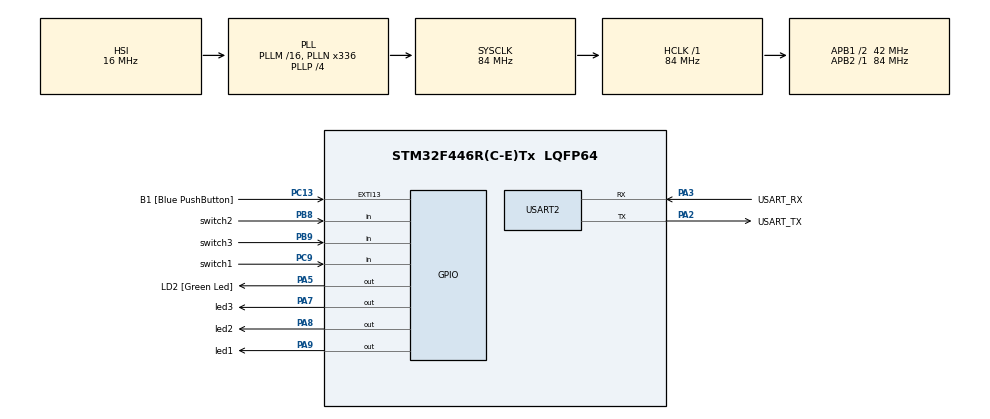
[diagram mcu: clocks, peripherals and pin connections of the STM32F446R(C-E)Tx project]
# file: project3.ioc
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Mcu.Family=STM32F4
Mcu.Name=STM32F446R(C-E)Tx
Mcu.Package=LQFP64
NVIC.PriorityGroup=NVIC_PRIORITYGROUP_0
NVIC.TIM6_DAC_IRQn=true\:0\:0\:false\:false\:true\:true\:true\:true
PA13.GPIO_Label=TMS
PA13.Mode=Serial_Wire
PA13.Signal=SYS_JTMS-SWDIO
PA14.GPIO_Label=TCK
PA14.Mode=Serial_Wire
PA14.Signal=SYS_JTCK-SWCLK
PA2.GPIO_Label=USART_TX
PA2.Mode=Asynchronous
PA2.Signal=USART2_TX
PA3.GPIO_Label=USART_RX
PA3.Mode=Asynchronous
PA3.Signal=USART2_RX
PA5.GPIO_Label=LD2 [Green Led]
PA5.Signal=GPIO_Output
PA7.GPIO_Label=led3
PA7.Signal=GPIO_Output
PA8.GPIO_Label=led2
PA8.Signal=GPIO_Output
PA9.GPIO_Label=led1
PA9.Signal=GPIO_Output
PB3.GPIO_Label=SWO
PB3.Signal=SYS_JTDO-SWO
PB8.GPIO_Label=switch2
PB8.GPIO_PuPd=GPIO_PULLUP
PB8.Signal=GPIO_Input
PB9.GPIO_Label=switch3
PB9.GPIO_PuPd=GPIO_PULLUP
PB9.Signal=GPIO_Input
PC13.GPIO_Label=B1 [Blue PushButton]
PC13.GPIO_ModeDefaultEXTI=GPIO_MODE_IT_FALLING
PC13.Signal=GPXTI13
PC14-OSC32_IN.Mode=LSE-External-Oscillator
PC14-OSC32_IN.Signal=RCC_OSC32_IN
PC15-OSC32_OUT.Mode=LSE-External-Oscillator
PC15-OSC32_OUT.Signal=RCC_OSC32_OUT
PC9.GPIO_Label=switch1
PC9.GPIO_PuPd=GPIO_PULLUP
PC9.Signal=GPIO_Input
PH0-OSC_IN.Mode=HSE-External-Oscillator
PH0-OSC_IN.Signal=RCC_OSC_IN
PH1-OSC_OUT.Mode=HSE-External-Oscillator
PH1-OSC_OUT.Signal=RCC_OSC_OUT
ProjectManager.HeapSize=0x200
ProjectManager.StackSize=0x400
ProjectManager.TargetToolchain=STM32CubeIDE
RCC.48MHZClocksFreq_Value=84000000
RCC.AHBFreq_Value=84000000
RCC.APB1CLKDivider=RCC_HCLK_DIV2
RCC.APB1Freq_Value=42000000
RCC.APB1TimFreq_Value=84000000
RCC.APB2Freq_Value=84000000
RCC.APB2TimFreq_Value=84000000
RCC.CortexFreq_Value=84000000
RCC.FLatency-AdvancedSettings=FLASH_LATENCY_2
RCC.HCLKFreq_Value=84000000
RCC.HSE_VALUE=8000000
RCC.HSI_VALUE=16000000
RCC.PLLN=336
RCC.PLLP=RCC_PLLP_DIV4
RCC.SYSCLKFreq_VALUE=84000000
RCC.SYSCLKSource=RCC_SYSCLKSOURCE_PLLCLK
RCC.USBFreq_Value=168000000
RCC.VCOOutputFreq_Value=336000000
TIM6.Period=10000
TIM6.Prescaler=8399
USART2.VirtualMode=VM_ASYNC
VP_TIM6_VS_ClockSourceINT.Mode=Enable_Timer
board=NUCLEO-F446RE

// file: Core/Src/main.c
/* USER CODE BEGIN Header */
/**
  ******************************************************************************
  * @file           : main.c
  * @brief          : Main program body
  ******************************************************************************
  * @attention
  *
  * Copyright (c) 2024 STMicroelectronics.
  * All rights reserved.
  *
  * This software is licensed under terms that can be found in the LICENSE file
  * in the root directory of this software component.
  * If no LICENSE file comes with this software, it is provided AS-IS.
  *
  ******************************************************************************
  */
/* USER CODE END Header */
#include "main.h"

UART_HandleTypeDef huart2;
TIM_HandleTypeDef htim6;

/* USER CODE BEGIN PV */
volatile uint8_t led1_state = 0;
volatile uint8_t led2_state = 0;
volatile uint8_t led3_state = 0;
/* USER CODE END PV */

void SystemClock_Config(void);
static void MX_GPIO_Init(void);
static void MX_USART2_UART_Init(void);
static void MX_TIM6_Init(void);
/* USER CODE BEGIN PFP */
void HAL_TIM_PeriodElapsedCallback(TIM_HandleTypeDef *htim);
/* USER CODE END PFP */

int main(void)
{

  /* MCU Configuration--------------------------------------------------------*/

  /* Reset of all peripherals, Initializes the Flash interface and the Systick. */
  HAL_Init();

  /* Configure the system clock */
  SystemClock_Config();

  /* Initialize all configured peripherals */
  MX_GPIO_Init();
  MX_USART2_UART_Init();
  MX_TIM6_Init();
  /* USER CODE BEGIN 2 */
  HAL_TIM_Base_Start_IT(&htim6); // Start Timer 6 with interrupt
  /* USER CODE END 2 */

  /* Infinite loop */
  while (1)
  {

  }
}

void SystemClock_Config(void)
{
  RCC_OscInitTypeDef RCC_OscInitStruct = {0};
  RCC_ClkInitTypeDef RCC_ClkInitStruct = {0};

  /** Configure the main internal regulator output voltage
  */
  __HAL_RCC_PWR_CLK_ENABLE();
  __HAL_PWR_VOLTAGESCALING_CONFIG(PWR_REGULATOR_VOLTAGE_SCALE3);

  /** Initializes the RCC Oscillators according to the specified parameters
  * in the RCC_OscInitTypeDef structure.
  */
  RCC_OscInitStruct.OscillatorType = RCC_OSCILLATORTYPE_HSI;
  RCC_OscInitStruct.HSIState = RCC_HSI_ON;
  RCC_OscInitStruct.HSICalibrationValue = RCC_HSICALIBRATION_DEFAULT;
  RCC_OscInitStruct.PLL.PLLState = RCC_PLL_ON;
  RCC_OscInitStruct.PLL.PLLSource = RCC_PLLSOURCE_HSI;
  RCC_OscInitStruct.PLL.PLLM = 16;
  RCC_OscInitStruct.PLL.PLLN = 336;
  RCC_OscInitStruct.PLL.PLLP = RCC_PLLP_DIV4;
  RCC_OscInitStruct.PLL.PLLQ = 2;
  RCC_OscInitStruct.PLL.PLLR = 2;
  if (HAL_RCC_OscConfig(&RCC_OscInitStruct) != HAL_OK)
  {
    Error_Handler();
  }

  /** Initializes the CPU, AHB and APB buses clocks
  */
  RCC_ClkInitStruct.ClockType = RCC_CLOCKTYPE_HCLK|RCC_CLOCKTYPE_SYSCLK
                              |RCC_CLOCKTYPE_PCLK1|RCC_CLOCKTYPE_PCLK2;
  RCC_ClkInitStruct.SYSCLKSource = RCC_SYSCLKSOURCE_PLLCLK;
  RCC_ClkInitStruct.AHBCLKDivider = RCC_SYSCLK_DIV1;
  RCC_ClkInitStruct.APB1CLKDivider = RCC_HCLK_DIV2;
  RCC_ClkInitStruct.APB2CLKDivider = RCC_HCLK_DIV1;

  if (HAL_RCC_ClockConfig(&RCC_ClkInitStruct, FLASH_LATENCY_2) != HAL_OK)
  {
    Error_Handler();
  }
}

static void MX_USART2_UART_Init(void)
{

  huart2.Instance = USART2;
  huart2.Init.BaudRate = 115200;
  huart2.Init.WordLength = UART_WORDLENGTH_8B;
  huart2.Init.StopBits = UART_STOPBITS_1;
  huart2.Init.Parity = UART_PARITY_NONE;
  huart2.Init.Mode = UART_MODE_TX_RX;
  huart2.Init.HwFlowCtl = UART_HWCONTROL_NONE;
  huart2.Init.OverSampling = UART_OVERSAMPLING_16;
  if (HAL_UART_Init(&huart2) != HAL_OK)
  {
    Error_Handler();
  }

}

static void MX_GPIO_Init(void)
{
  GPIO_InitTypeDef GPIO_InitStruct = {0};

  /* GPIO Ports Clock Enable */
  __HAL_RCC_GPIOC_CLK_ENABLE();
  __HAL_RCC_GPIOH_CLK_ENABLE();
  __HAL_RCC_GPIOA_CLK_ENABLE();
  __HAL_RCC_GPIOB_CLK_ENABLE();

  /*Configure GPIO pin Output Level */
  HAL_GPIO_WritePin(GPIOA, LD2_Pin|led3_Pin|led2_Pin|led1_Pin, GPIO_PIN_RESET);

  /*Configure GPIO pin : B1_Pin */
  GPIO_InitStruct.Pin = B1_Pin;
  GPIO_InitStruct.Mode = GPIO_MODE_IT_FALLING;
  GPIO_InitStruct.Pull = GPIO_NOPULL;
  HAL_GPIO_Init(B1_GPIO_Port, &GPIO_InitStruct);

  /*Configure GPIO pins : LD2_Pin led3_Pin led2_Pin led1_Pin */
  GPIO_InitStruct.Pin = LD2_Pin|led3_Pin|led2_Pin|led1_Pin;
  GPIO_InitStruct.Mode = GPIO_MODE_OUTPUT_PP;
  GPIO_InitStruct.Pull = GPIO_NOPULL;
  GPIO_InitStruct.Speed = GPIO_SPEED_FREQ_LOW;
  HAL_GPIO_Init(GPIOA, &GPIO_InitStruct);

  /*Configure GPIO pin : switch1_Pin */
  GPIO_InitStruct.Pin = switch1_Pin;
  GPIO_InitStruct.Mode = GPIO_MODE_INPUT;
  GPIO_InitStruct.Pull = GPIO_PULLUP;
  HAL_GPIO_Init(switch1_GPIO_Port, &GPIO_InitStruct);

  /*Configure GPIO pins : switch2_Pin switch3_Pin */
  GPIO_InitStruct.Pin = switch2_Pin|switch3_Pin;
  GPIO_InitStruct.Mode = GPIO_MODE_INPUT;
  GPIO_InitStruct.Pull = GPIO_PULLUP;
  HAL_GPIO_Init(GPIOB, &GPIO_InitStruct);

}

static void MX_TIM6_Init(void)
{

  TIM_MasterConfigTypeDef sMasterConfig = {0};

  htim6.Instance = TIM6;
  htim6.Init.Prescaler = 8399;
  htim6.Init.CounterMode = TIM_COUNTERMODE_UP;
  htim6.Init.Period = 9999;
  htim6.Init.AutoReloadPreload = TIM_AUTORELOAD_PRELOAD_DISABLE;
  if (HAL_TIM_Base_Init(&htim6) != HAL_OK)
  {
    Error_Handler();
  }
  sMasterConfig.MasterOutputTrigger = TIM_TRGO_RESET;
  sMasterConfig.MasterSlaveMode = TIM_MASTERSLAVEMODE_DISABLE;
  if (HAL_TIMEx_MasterConfigSynchronization(&htim6, &sMasterConfig) != HAL_OK)
  {
    Error_Handler();
  }

}

/* USER CODE BEGIN 4 */
void HAL_TIM_PeriodElapsedCallback(TIM_HandleTypeDef *htim)
{
  if (htim->Instance == TIM6)
  {
    if (!(HAL_GPIO_ReadPin(GPIOC, switch1_Pin)))
    {
      HAL_GPIO_WritePin(GPIOA, led1_Pin, GPIO_PIN_SET);
      led1_state = 1;
    }
    else
    {
      HAL_GPIO_WritePin(GPIOA, led1_Pin, GPIO_PIN_RESET);
      led1_state = 0;
    }

    if (!(HAL_GPIO_ReadPin(GPIOB, switch2_Pin)))
    {
      HAL_GPIO_WritePin(GPIOA, led2_Pin, GPIO_PIN_SET);
      led2_state = 1;
    }
    else
    {
      HAL_GPIO_WritePin(GPIOA, led2_Pin, GPIO_PIN_RESET);
      led2_state = 0;
    }

    if (!(HAL_GPIO_ReadPin(GPIOB, switch3_Pin)))
    {
      HAL_GPIO_WritePin(GPIOA, led3_Pin, GPIO_PIN_SET);
      led3_state = 1;
    }
    else
    {
      HAL_GPIO_WritePin(GPIOA, led3_Pin, GPIO_PIN_RESET);
      led3_state = 0;
    }
  }
}
/* USER CODE END 4 */

void Error_Handler(void)
{
  __disable_irq();
  while (1)
  {
  }
}
